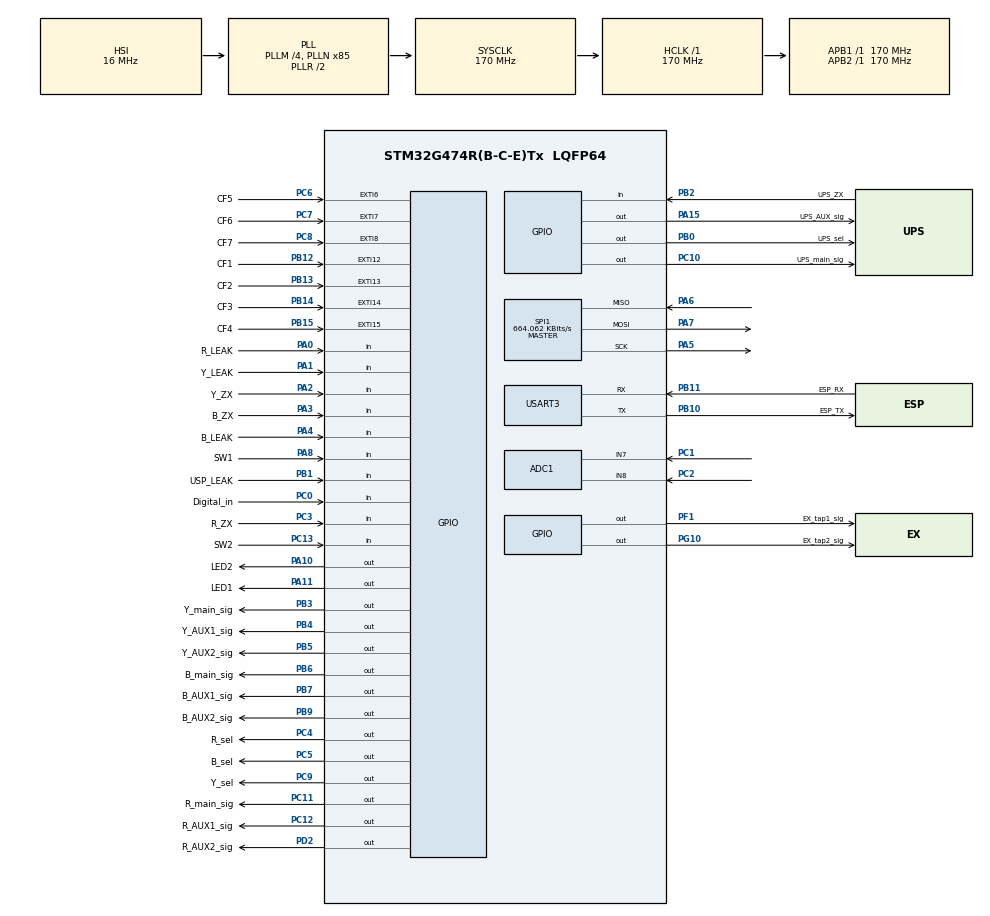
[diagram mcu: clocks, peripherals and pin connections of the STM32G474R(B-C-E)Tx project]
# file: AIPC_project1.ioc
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ADC1.Channel-0\#ChannelRegularConversion=ADC_CHANNEL_VBAT
ADC1.NbrOfConversion=1
ADC1.NbrOfConversionFlag=1
ADC1.OffsetNumber-0\#ChannelRegularConversion=ADC_OFFSET_NONE
ADC1.OversamplingMode=DISABLE
ADC1.Rank-0\#ChannelRegularConversion=1
ADC1.SamplingTime-0\#ChannelRegularConversion=ADC_SAMPLETIME_24CYCLES_5
ADC1.master=1
Dma.Request0=USART3_RX
Dma.USART3_RX.0.Direction=DMA_PERIPH_TO_MEMORY
Dma.USART3_RX.0.EventEnable=DISABLE
Dma.USART3_RX.0.Instance=DMA1_Channel1
Dma.USART3_RX.0.MemDataAlignment=DMA_MDATAALIGN_BYTE
Dma.USART3_RX.0.MemInc=DMA_MINC_ENABLE
Dma.USART3_RX.0.Mode=DMA_NORMAL
Dma.USART3_RX.0.PeriphDataAlignment=DMA_PDATAALIGN_BYTE
Dma.USART3_RX.0.PeriphInc=DMA_PINC_DISABLE
Dma.USART3_RX.0.Polarity=HAL_DMAMUX_REQ_GEN_RISING
Dma.USART3_RX.0.Priority=DMA_PRIORITY_MEDIUM
Dma.USART3_RX.0.RequestNumber=1
Dma.USART3_RX.0.SignalID=NONE
Dma.USART3_RX.0.SyncEnable=DISABLE
Dma.USART3_RX.0.SyncPolarity=HAL_DMAMUX_SYNC_NO_EVENT
Dma.USART3_RX.0.SyncRequestNumber=1
Dma.USART3_RX.0.SyncSignalID=NONE
Mcu.Family=STM32G4
Mcu.Name=STM32G474R(B-C-E)Tx
Mcu.Package=LQFP64
NVIC.DMA1_Channel1_IRQn=true\:0\:0\:false\:false\:true\:false\:true\:true
NVIC.EXTI15_10_IRQn=true\:0\:0\:false\:false\:true\:true\:true\:true
NVIC.EXTI9_5_IRQn=true\:0\:0\:false\:false\:true\:true\:true\:true
NVIC.PriorityGroup=NVIC_PRIORITYGROUP_4
NVIC.USART3_IRQn=true\:0\:0\:false\:false\:true\:true\:true\:true
PA0.GPIO_Label=R_LEAK
PA0.GPIO_PuPd=GPIO_PULLUP
PA0.Signal=GPIO_Input
PA1.GPIO_Label=Y_LEAK
PA1.GPIO_PuPd=GPIO_PULLUP
PA1.Signal=GPIO_Input
PA10.GPIO_Label=LED2
PA10.GPIO_Speed=GPIO_SPEED_FREQ_VERY_HIGH
PA10.Signal=GPIO_Output
PA11.GPIO_Label=LED1
PA11.GPIO_Speed=GPIO_SPEED_FREQ_VERY_HIGH
PA11.Signal=GPIO_Output
PA15.GPIO_Label=UPS_AUX_sig
PA15.Signal=GPIO_Output
PA2.GPIO_Label=Y_ZX
PA2.Signal=GPIO_Input
PA3.GPIO_Label=B_ZX
PA3.Signal=GPIO_Input
PA4.GPIO_Label=B_LEAK
PA4.GPIO_PuPd=GPIO_PULLUP
PA4.Signal=GPIO_Input
PA5.Mode=Full_Duplex_Master
PA5.Signal=SPI1_SCK
PA6.Mode=Full_Duplex_Master
PA6.Signal=SPI1_MISO
PA7.Mode=Full_Duplex_Master
PA7.Signal=SPI1_MOSI
PA8.GPIO_Label=SW1
PA8.GPIO_PuPd=GPIO_PULLDOWN
PA8.Signal=GPIO_Input
PB0.GPIO_Label=UPS_sel
PB0.Signal=GPIO_Output
PB1.GPIO_Label=USP_LEAK
PB1.GPIO_PuPd=GPIO_PULLUP
PB1.Signal=GPIO_Input
PB10.GPIO_Label=ESP_TX
PB10.Mode=Asynchronous
PB10.Signal=USART3_TX
PB11.GPIO_Label=ESP_RX
PB11.Mode=Asynchronous
PB11.Signal=USART3_RX
PB12.GPIO_Label=CF1
PB12.GPIO_ModeDefaultEXTI=GPIO_MODE_IT_RISING_FALLING
PB12.GPIO_PuPd=GPIO_PULLUP
PB12.Signal=GPXTI12
PB13.GPIO_Label=CF2
PB13.GPIO_ModeDefaultEXTI=GPIO_MODE_IT_RISING_FALLING
PB13.GPIO_PuPd=GPIO_PULLUP
PB13.Signal=GPXTI13
PB14.GPIO_Label=CF3
PB14.GPIO_ModeDefaultEXTI=GPIO_MODE_IT_RISING_FALLING
PB14.GPIO_PuPd=GPIO_PULLUP
PB14.Signal=GPXTI14
PB15.GPIO_Label=CF4
PB15.GPIO_ModeDefaultEXTI=GPIO_MODE_IT_RISING_FALLING
PB15.GPIO_PuPd=GPIO_PULLUP
PB15.Signal=GPXTI15
PB2.GPIO_Label=UPS_ZX
PB2.GPIO_PuPd=GPIO_PULLUP
PB2.Signal=GPIO_Input
PB3.GPIO_Label=Y_main_sig
PB3.Signal=GPIO_Output
PB4.GPIO_Label=Y_AUX1_sig
PB4.Signal=GPIO_Output
PB5.GPIO_Label=Y_AUX2_sig
PB5.Signal=GPIO_Output
PB6.GPIO_Label=B_main_sig
PB6.Signal=GPIO_Output
PB7.GPIO_Label=B_AUX1_sig
PB7.Signal=GPIO_Output
PB9.GPIO_Label=B_AUX2_sig
PB9.Signal=GPIO_Output
PC0.GPIO_Label=Digital_in
PC0.GPIO_PuPd=GPIO_PULLUP
PC0.Signal=GPIO_Input
PC1.Mode=IN7-Differential
PC1.Signal=ADC1_IN7
PC10.GPIO_Label=UPS_main_sig
PC10.Signal=GPIO_Output
PC11.GPIO_Label=R_main_sig
PC11.Signal=GPIO_Output
PC12.GPIO_Label=R_AUX1_sig
PC12.Signal=GPIO_Output
PC13.GPIO_Label=SW2
PC13.GPIO_PuPd=GPIO_PULLDOWN
PC13.Signal=GPIO_Input
PC14-OSC32_IN.Mode=LSE-External-Oscillator
PC14-OSC32_IN.Signal=RCC_OSC32_IN
PC15-OSC32_OUT.Mode=LSE-External-Oscillator
PC15-OSC32_OUT.Signal=RCC_OSC32_OUT
PC2.Mode=IN7-Differential
PC2.Signal=ADC1_IN8
PC3.GPIO_Label=R_ZX
PC3.GPIO_PuPd=GPIO_PULLUP
PC3.Signal=GPIO_Input
PC4.GPIO_Label=R_sel
PC4.Signal=GPIO_Output
PC5.GPIO_Label=B_sel
PC5.Signal=GPIO_Output
PC6.GPIO_Label=CF5
PC6.GPIO_ModeDefaultEXTI=GPIO_MODE_IT_RISING_FALLING
PC6.GPIO_PuPd=GPIO_PULLUP
PC6.Signal=GPXTI6
PC7.GPIO_Label=CF6
PC7.GPIO_ModeDefaultEXTI=GPIO_MODE_IT_RISING_FALLING
PC7.GPIO_PuPd=GPIO_PULLUP
PC7.Signal=GPXTI7
PC8.GPIO_Label=CF7
PC8.GPIO_ModeDefaultEXTI=GPIO_MODE_IT_RISING_FALLING
PC8.GPIO_PuPd=GPIO_PULLUP
PC8.Signal=GPXTI8
PC9.GPIO_Label=Y_sel
PC9.Signal=GPIO_Output
PD2.GPIO_Label=R_AUX2_sig
PD2.Signal=GPIO_Output
PF1-OSC_OUT.GPIO_Label=EX_tap1_sig
PF1-OSC_OUT.Signal=GPIO_Output
PG10-NRST.GPIO_Label=EX_tap2_sig
PG10-NRST.Signal=GPIO_Output
ProjectManager.HeapSize=0x200
ProjectManager.StackSize=0x400
ProjectManager.TargetToolchain=STM32CubeIDE
RCC.ADC12Freq_Value=170000000
RCC.ADC345Freq_Value=170000000
RCC.AHBFreq_Value=170000000
RCC.APB1Freq_Value=170000000
RCC.APB1TimFreq_Value=170000000
RCC.APB2Freq_Value=170000000
RCC.APB2TimFreq_Value=170000000
RCC.CortexFreq_Value=170000000
RCC.EXTERNAL_CLOCK_VALUE=12288000
RCC.HCLKFreq_Value=170000000
RCC.HSE_VALUE=8000000
RCC.HSI48_VALUE=48000000
RCC.HSI_VALUE=16000000
RCC.PLLM=RCC_PLLM_DIV4
RCC.PLLN=85
RCC.RTCClockSelection=RCC_RTCCLKSOURCE_LSE
RCC.SYSCLKFreq_VALUE=170000000
RCC.SYSCLKSource=RCC_SYSCLKSOURCE_PLLCLK
RCC.USBFreq_Value=170000000
RCC.VCOOutputFreq_Value=340000000
SPI1.BaudRatePrescaler=SPI_BAUDRATEPRESCALER_256
SPI1.CLKPhase=SPI_PHASE_2EDGE
SPI1.CalculateBaudRate=664.062 KBits/s
SPI1.DataSize=SPI_DATASIZE_8BIT
SPI1.Direction=SPI_DIRECTION_2LINES
SPI1.Mode=SPI_MODE_MASTER
SPI1.VirtualType=VM_MASTER
USART3.VirtualMode-Asynchronous=VM_ASYNC
VP_ADC1_Vbat_Input.Mode=IN-Vbat
VP_RTC_VS_RTC_Activate.Mode=RTC_Enabled
VP_RTC_VS_RTC_Calendar.Mode=RTC_Calendar
VP_SYS_VS_DBSignals.Mode=DisableDeadBatterySignals
board=custom

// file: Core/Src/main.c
/* USER CODE BEGIN Header */
/**
  ******************************************************************************
  * @file           : main.c
  * @brief          : Main program body
  ******************************************************************************
  * @attention
  *
  * Copyright (c) 2026 STMicroelectronics.
  * All rights reserved.
  *
  * This software is licensed under terms that can be found in the LICENSE file
  * in the root directory of this software component.
  * If no LICENSE file comes with this software, it is provided AS-IS.
  *
  ******************************************************************************
  */
/* USER CODE END Header */
#include "main.h"

/* USER CODE BEGIN Includes */

#include "OTAupdate.h"
#include "Relay_controlling.h"

#include<stdio.h>
#include <string.h>
#include <time.h>

/* USER CODE END Includes */

/* USER CODE BEGIN PD */

#define RELAYCHECK 0
#define CALIB_VOL1 17338.36190
#define CALIB_CUR1 301062.271062
#define CALIB_POW1 648.885586
#define CALIB_ENE1 4667.50266786

#define CALIB_VOL2 17324.5952
#define CALIB_CUR2 304157.509157
#define CALIB_POW2 739.078751
#define CALIB_ENE2 5667.50266786

#define CALIB_VOL3 17319.6761
#define CALIB_CUR3 304084.249084
#define CALIB_POW3 656.745913
#define CALIB_ENE3 5000.96266786

//#define CALIB_VOL 1
//#define CALIB_CUR 1
//#define CALIB_POW 1
//#define CALIB_ENE 1

/*RX buffer size deceleration*/
#define BUF_SIZE 256

#define OVERLOAD_DELAY 7000

#define RTC_BAT_CONNECTED 1

/* USER CODE END PD */

ADC_HandleTypeDef hadc1;

RTC_HandleTypeDef hrtc;

SPI_HandleTypeDef hspi1;

UART_HandleTypeDef huart3;
DMA_HandleTypeDef hdma_usart3_rx;

/* USER CODE BEGIN PV */
uint8_t setupBL[6];
uint8_t rxDummy[4],rxDataV1[4], rxDataV2[4], rxDataV3[4], rxDataV4[4];
uint8_t rxDataC1[4], rxDataC2[4], rxDataC3[4], rxDataC4[4];
uint8_t rxDataP1[4], rxDataP2[4], rxDataP3[4], rxDataP4[4];
uint8_t rxDataE1[4], rxDataE2[4], rxDataE3[4], rxDataE4[4];
volatile float  voltL1, voltL2, voltL3,voltL4;
volatile float  curL1, curL2, curL3, curL4;
volatile float  powL1, powL2, powL3, powL4;
volatile float  eneL1, eneL2, eneL3, eneL4;

unsigned short uartGoFlag;			//0b->v1, 1b->c1, 2b->p1, 3b->e1, 4b->v2, 5b->c2, 6b->p2, 7b->e2, 8b->v3, 9b->c3, 10b->p3, 11b->e3, 12b->v4, 13b->c4, 14b->p4, 15b->e4.
unsigned short relayStatus;
unsigned short contactorStatus;

volatile bool healthyRphase,healthyYphase,healthyBphase,healthyUPS;
volatile bool RmainRelayState, YmainRelayState, BmainRelayState, RYauxRelayState, YRauxRelayState, YBauxRelayState, BYauxRelayState, RBauxRelayState, BRauxRelayState, UPSmainRelayState, UPSauxRelayState;

uint8_t Uart3RXbuffer[BUF_SIZE];
typedef struct PhaseProtection {
    bool enabled;
    float highV;   // Volts
    float lowV;    // Volts
    float highI;   // Amps (overload)
}PhaseProtection;

PhaseProtection prot[3];
uint8_t headerProtection = 0XCC, checkSum;
bool protCheckSumMismatch;

float voltLow[4],voltHigh[4],overload[4];
uint32_t overloadAlertL1StartTime,  overloadAlertL2StartTime, overloadAlertL3StartTime, overloadAlertL4StartTime;
bool overloadAlertL1,overloadAlertL2,overloadAlertL3, overloadAlertL4;
uint32_t resetButtonCombTScap;
bool resumel1,resumel2,resumel3,resumel4; //not used until overload reset is activated

uint64_t receivedUnixTime;
volatile static bool timeSynced = false;
float bateryVoltage;

volatile uint32_t  eventFlag, previousEventFlag;
volatile bool eventPassed;
typedef struct event{
	time_t carryEventTime;
	uint32_t carryEventFlag;
}event;

event arrEvent[20];
uint8_t headerEventSend = 0XEE;
uint8_t structTemp[sizeof(arrEvent[0])+2];

int8_t eventWriteIndex = -1;
uint32_t preSentTime;
time_t  curTime;

RTC_TimeTypeDef rtcTime;
RTC_DateTypeDef rtcDate;

/* USER CODE END PV */

void SystemClock_Config(void);
static void MX_GPIO_Init(void);
static void MX_DMA_Init(void);
static void MX_USART3_UART_Init(void);
static void MX_ADC1_Init(void);
static void MX_RTC_Init(void);
static void MX_SPI1_Init(void);

/* USER CODE BEGIN 0 */

//int __io_putchar(int ch)
//{
//    HAL_UART_Transmit(&huart2, (uint8_t *)&ch, 1, HAL_MAX_DELAY);
//    return ch;
//}

/* No debug UART on the controller board (PA2/PA3 are Y_ZX/B_ZX): printf is discarded.
   Must stay defined - syscalls.c calls this weak symbol and jumps to 0 if it is missing */

void UARTcollection(uint16_t Size) {
	bool transfer = false;

	for (uint16_t i = 0; i < Size; i++) {
		if (Uart3RXbuffer[i] == headerProtection && (Size - i) >= 41) {
			transfer = true;
		}
	}
	checkSum = 0;
	for (int i = 1; i < 40; i++) {
		checkSum += Uart3RXbuffer[i];
	}
	checkSum = (~(checkSum & 0XFF));

	if (transfer && (checkSum == Uart3RXbuffer[40])) {
		prot[0].enabled = Uart3RXbuffer[1];
		memcpy((&prot[0].lowV), &Uart3RXbuffer[2], 4);
		memcpy((&prot[0].highV), &Uart3RXbuffer[6], 4);
		memcpy((&prot[0].highI), &Uart3RXbuffer[10], 4);
		prot[1].enabled = Uart3RXbuffer[14];
		memcpy((&prot[1].lowV), &Uart3RXbuffer[15], 4);
		memcpy((&prot[1].highV), &Uart3RXbuffer[19], 4);
		memcpy((&prot[1].highI), &Uart3RXbuffer[23], 4);
		prot[2].enabled = Uart3RXbuffer[27];
		memcpy((&prot[2].lowV), &Uart3RXbuffer[28], 4);
		memcpy((&prot[2].highV), &Uart3RXbuffer[32], 4);
		memcpy((&prot[2].highI), &Uart3RXbuffer[36], 4);
	}else{
		protCheckSumMismatch=true;
	}
}

void NTPsyncTimeToRTC(uint16_t Size){
//	printf("Time Synced process is in testing mode\r\n");
//	for (int i = 0; i < 10; i++) {
//		printf("%d ---->%X\r\n", i, Uart3RXbuffer[i]);
//	}
//	printf("\r\n");

	uint16_t i;
	for (i = 0; i < Size/*-i>=10*/; i++) {
		if (Uart3RXbuffer[i] == 0XDD && (Size - i) >= 10) {
				receivedUnixTime =
			    ((uint64_t)Uart3RXbuffer[i+1] << 0)  |
			    ((uint64_t)Uart3RXbuffer[i+2] << 8)  |
			    ((uint64_t)Uart3RXbuffer[i+3] << 16) |
			    ((uint64_t)Uart3RXbuffer[i+4] << 24) |
			    ((uint64_t)Uart3RXbuffer[i+5] << 32) |
			    ((uint64_t)Uart3RXbuffer[i+6] << 40) |
			    ((uint64_t)Uart3RXbuffer[i+7] << 48) |
			    ((uint64_t)Uart3RXbuffer[i+8] << 56);
			timeSynced =true;
//			printf("%lu\r\n",(unsigned long)receivedUnixTime);
			return;
		}
	}
	return;

//	time_t epoch = receivedUinxTime;
//	struct tm* time = gmtime(&epoch);

}

void HAL_UARTEx_RxEventCallback(UART_HandleTypeDef *huart, uint16_t Size) {
	if (huart->Instance == USART3) {
			suOnRxBurst(Uart3RXbuffer, Size); // <-- add: catch AA55A55A / BB44B44B
			NTPsyncTimeToRTC(Size);
			UARTcollection(Size);
			HAL_UARTEx_ReceiveToIdle_DMA(&huart3, Uart3RXbuffer, BUF_SIZE);
			__HAL_DMA_DISABLE_IT(huart3.hdmarx, DMA_IT_HT);

	}

}

void HAL_UART_ErrorCallback(UART_HandleTypeDef *huart) {
	if (huart->Instance == USART3) {
		/* ESP reset/boot noise causes FE/NE/ORE, which aborts DMA reception - restart it */
		__HAL_UART_CLEAR_FLAG(huart, UART_CLEAR_OREF | UART_CLEAR_FEF | UART_CLEAR_NEF | UART_CLEAR_PEF);
		HAL_UARTEx_ReceiveToIdle_DMA(&huart3, Uart3RXbuffer, BUF_SIZE);
		__HAL_DMA_DISABLE_IT(huart3.hdmarx, DMA_IT_HT);
	}
}

uint8_t validateChecksum(uint8_t addr, uint8_t high, uint8_t mid, uint8_t low, uint8_t checksum){
	return checksum == (uint8_t) ~((0x55+addr+high+mid+low)&0XFF);

}

/* BL0939 has no chip select: 6 bytes of 0xFF re-aligns its SPI frame counter */
void blResetSPI(void){
	uint8_t resetBytes[6] = {0xFF, 0xFF, 0xFF, 0xFF, 0xFF, 0xFF};
	HAL_SPI_Transmit(&hspi1, resetBytes, 6, HAL_MAX_DELAY);
}

/* Reads one BL0939 register as a single 6-byte frame, retrying on checksum failure.
   data[] receives {H, M, L, checksum}; returns 1 when the checksum matched */
uint8_t blReadReg(uint8_t addr, uint8_t *data){
	uint8_t tx[2] = {0x55, addr };
	uint8_t rx[6];

	for (uint8_t attempt = 0; attempt < 3; attempt++) {
		if (HAL_SPI_TransmitReceive(&hspi1, tx, rx, 6, HAL_MAX_DELAY) == HAL_OK
				&& validateChecksum(addr, rx[2], rx[3], rx[4], rx[5])) {
			for (uint8_t i = 0; i < 4; i++)
				data[i] = rx[i + 2];
			return 1;
		}
//		printf("BL %02X bad: %02X %02X %02X %02X %02X %02X\r\n",
//				addr, rx[0], rx[1], rx[2], rx[3], rx[4], rx[5]);
		blResetSPI();
	}
	return 0;
}

void batteryCalculation(void) {
	/*Process of monitoring the battery percentage with the help of inbuilt ADC channel connection */
	HAL_ADC_Start(&hadc1);

	if (HAL_ADC_PollForConversion(&hadc1, 10) == HAL_OK) {
		uint16_t bateryADCvalue = HAL_ADC_GetValue(&hadc1);
		bateryVoltage = ((float) ((bateryADCvalue * 3) * 3.6) / 4095);
	}

	HAL_ADC_Stop(&hadc1);
	/*End of this individual function*/

}

void overloadResetHandler(void) {
	/*Reset overload combination*/

	if (HAL_GPIO_ReadPin(SW1_GPIO_Port, SW1_Pin)
			&& HAL_GPIO_ReadPin(SW2_GPIO_Port, SW2_Pin)) {
		if (!resetButtonCombTScap) {
			resetButtonCombTScap = HAL_GetTick();
		}
	} else {
		resetButtonCombTScap = 0;
	}

	if (resetButtonCombTScap && (HAL_GetTick() - resetButtonCombTScap > 3000)) {

		if (overloadAlertL1) {
			resumel1 = true;
		}
		if (overloadAlertL2) {
			resumel2 = true;
		}
		if (overloadAlertL3) {
			resumel3 = true;
		}
		if (overloadAlertL4) {
			resumel4 = true;
		}
	}

	/*End of this individual function*/

}

void SyncTimeToSTMrtc(void){
 	 /* Process of Time sync when the ESP time get synced or at login. Then continiously running the RTC in the background with the help of the Vbat support */

	if (timeSynced == 1) {
		time_t setUnixTime = (time_t) (receivedUnixTime + 19800);
		struct tm time;
		gmtime_r(&setUnixTime, &time);
		rtcTime.Hours = time.tm_hour;
		rtcTime.Minutes = time.tm_min;
		rtcTime.Seconds = time.tm_sec;
		rtcTime.SubSeconds = 0x0;
		rtcTime.TimeFormat = RTC_HOURFORMAT12_AM;
		rtcTime.DayLightSaving = RTC_DAYLIGHTSAVING_NONE;
		rtcTime.StoreOperation = RTC_STOREOPERATION_RESET;

		rtcDate.WeekDay = time.tm_wday;
		rtcDate.Month = time.tm_mon + 1;
		rtcDate.Date = time.tm_mday;
		rtcDate.Year = ((time.tm_year) - 100);  // (126 - 100) -> 26  ->2026

		HAL_RTC_SetTime(&hrtc, &rtcTime, RTC_FORMAT_BIN);
		HAL_RTC_SetDate(&hrtc, &rtcDate, RTC_FORMAT_BIN);
		timeSynced = false;

	}

	/*End of this individual function*/
}

void convRTCtimeToUNIXtime(void){
	/*This portion will help to take the time from internal RTC and shows in the terminal and convert to unix time for passing that to ESP*/
		struct tm time;
			HAL_RTC_GetTime(&hrtc, &rtcTime, RTC_FORMAT_BIN);
			HAL_RTC_GetDate(&hrtc, &rtcDate, RTC_FORMAT_BIN);
	//		printf("Time: %02d:%02d:%02d\r\n", rtcTime.Hours, rtcTime.Minutes,rtcTime.Seconds);
	//		printf("Date: %02d/%02d/20%02d\r\n", rtcDate.Date, rtcDate.Month,rtcDate.Year);

			time.tm_hour = rtcTime.Hours;
			time.tm_min = rtcTime.Minutes;
			time.tm_sec = rtcTime.Seconds;
			time.tm_wday = rtcDate.WeekDay;
			time.tm_mon = rtcDate.Month - 1;
			time.tm_mday = rtcDate.Date;
			time.tm_year = rtcDate.Year + 100;

			time.tm_isdst = 0;

			curTime = mktime(&time);

	/*End of this individual function*/

}

void BLdataCollectionL1(void) {
	/*----------------------------------------L1------------------------------------------------------*/

	HAL_GPIO_WritePin(R_sel_GPIO_Port, R_sel_Pin, SET);
//    			HAL_Delay(2);
	blResetSPI();

//	  			printf("L1 -Dum\r\n");
//	  			blReadReg(0x03,rxDummy);
//	  			printf("L1 -v\r\n");
	uint8_t okV1 = blReadReg(0x06, rxDataV1);
//	  			printf("L1 -c\r\n");
	uint8_t okC1 = blReadReg(0x04, rxDataC1);
//	  			printf("L1 -p\r\n");
	uint8_t okP1 = blReadReg(0x08, rxDataP1);
//	  			printf("L1 -e\r\n");
	uint8_t okE1 = blReadReg(0x0A, rxDataE1);

	//HAL_Delay(1000);
	HAL_GPIO_WritePin(R_sel_GPIO_Port, R_sel_Pin, RESET);

//	  			printf("data1-> %X, %X, %X, %X\r\n", rxDataV1[0], rxDataV1[1], rxDataV1[2],rxDataV1[3]);

	if (okV1) {
		voltL1 = ((rxDataV1[0] << 16 | rxDataV1[1] << 8 | rxDataV1[2])
				/ CALIB_VOL1);
		uartGoFlag = uartGoFlag | 0X0001;
//	  				printf("Vol1 = %.2f\r\n", voltL1);

	}
	if (okC1) {
		curL1 = ((rxDataC1[0] << 16 | rxDataC1[1] << 8 | rxDataC1[2])
				/ CALIB_CUR1);
		uartGoFlag = uartGoFlag | 0X0002;
//	  				printf("curL1 = %.3f \r\n", curL1);

	}
	if (okP1) {
		powL1 = ((rxDataP1[0] << 16 | rxDataP1[1] << 8 | rxDataP1[2])
				/ CALIB_POW1);
		uartGoFlag = uartGoFlag | 0X0004;
//	  				printf("powL1 = %.2f \r\n", powL1);

	}
	if (okE1) {
		eneL1 = ((rxDataE1[0] << 16 | rxDataE1[1] << 8 | rxDataE1[2])
				/ CALIB_ENE1);
		uartGoFlag = uartGoFlag | 0X0008;
//	  				printf("eneL1 = %.3f \r\n", eneL1);

	}

//	  			printf("\r\n");

}

void BLdataCollectionL2(void) {
	/*----------------------------------------L2------------------------------------------------------*/

	HAL_GPIO_WritePin(Y_sel_GPIO_Port, Y_sel_Pin, SET);
	//	  			HAL_Delay(2);
	blResetSPI();
	//	  			HAL_Delay(20);

	//	  			printf("L2 -Dum\r\n");
	//	  			blReadReg(0x03,rxDummy);
	//	  			printf("L2 -v\r\n");
	uint8_t okV2 = blReadReg(0x06, rxDataV2);
	//	  			printf("L2 -c\r\n");
	uint8_t okC2 = blReadReg(0x04, rxDataC2);
	//	  			printf("L2 -p\r\n");
	uint8_t okP2 = blReadReg(0x08, rxDataP2);
	//	  			printf("L2 -E\r\n");
	uint8_t okE2 = blReadReg(0x0A, rxDataE2);

	HAL_GPIO_WritePin(Y_sel_GPIO_Port, Y_sel_Pin, RESET);
	//	  			HAL_Delay(100);
	//	  			printf("data2-> %X, %X, %X, %X\r\n", rxDataV2[0], rxDataV2[1], rxDataV2[2],rxDataV2[3]);

	if (okV2) {
		voltL2 = ((rxDataV2[0] << 16 | rxDataV2[1] << 8 | rxDataV2[2])
				/ CALIB_VOL2);
		uartGoFlag = uartGoFlag | 0X0010;
		//	  				printf("Vol2 = %.2f\r\n", voltL2);
	}
	if (okC2) {
		curL2 = ((rxDataC2[0] << 16 | rxDataC2[1] << 8 | rxDataC2[2])
				/ CALIB_CUR2);
		uartGoFlag = uartGoFlag | 0X0020;
		//	  				printf("curL2 = %.3f \r\n", curL2);

	}
	if (okP2) {
		powL2 = ((rxDataP2[0] << 16 | rxDataP2[1] << 8 | rxDataP2[2])
				/ CALIB_POW2);
		uartGoFlag = uartGoFlag | 0X0040;
		//	  				printf("powL2 = %.2f \r\n", powL2);
	}
	if (okE2) {
		eneL2 = ((rxDataE2[0] << 16 | rxDataE2[1] << 8 | rxDataE2[2])
				/ CALIB_ENE2);
		uartGoFlag = uartGoFlag | 0X0080;
		//	  				printf("eneL2 = %.3f \r\n", eneL2);

	}

	//	  			printf("\r\n");

}

void BLdataCollectionL3(void) {
	/*----------------------------------------L3------------------------------------------------------*/

	HAL_GPIO_WritePin(B_sel_GPIO_Port, B_sel_Pin, SET);
	HAL_Delay(2);
	blResetSPI();

//	  			printf("L3 -Dum\r\n");
//	  			blReadReg(0x03,rxDummy);
//	  			printf("L3 -v\r\n");
	uint8_t okV3 = blReadReg(0x06, rxDataV3);
//	  			printf("L3 -c\r\n");
	uint8_t okC3 = blReadReg(0x04, rxDataC3);
//	  			printf("L3 -p\r\n");
	uint8_t okP3 = blReadReg(0x08, rxDataP3);
//	  			printf("L3 -e\r\n");
	uint8_t okE3 = blReadReg(0x0A, rxDataE3);

	HAL_GPIO_WritePin(B_sel_GPIO_Port, B_sel_Pin, RESET);
//	  			printf("data3-> %X, %X, %X, %X\r\n", rxDataV3[0], rxDataV3[1], rxDataV3[2], rxDataV3[3]);

	if (okV3) {
		voltL3 = ((rxDataV3[0] << 16 | rxDataV3[1] << 8 | rxDataV3[2])
				/ CALIB_VOL3);
		uartGoFlag = uartGoFlag | 0X0100;
//	  				printf("Vol3 = %.2f\r\n", voltL3);
	}
	if (okC3) {
		curL3 = ((rxDataC3[0] << 16 | rxDataC3[1] << 8 | rxDataC3[2])
				/ CALIB_CUR3);
		uartGoFlag = uartGoFlag | 0X0200;
//	  			printf("curL3 = %.3f \r\n", curL3);
	}
	if (okP3) {
		powL3 = ((rxDataP3[0] << 16 | rxDataP3[1] << 8 | rxDataP3[2])
				/ CALIB_POW3);
		uartGoFlag = uartGoFlag | 0X0400;
//	  			printf("powL3 = %.2f \r\n", powL3);
	}
	if (okE3) {
		eneL3 = ((rxDataE3[0] << 16 | rxDataE3[1] << 8 | rxDataE3[2])
				/ CALIB_ENE3);
		uartGoFlag = uartGoFlag | 0X0800;
//	  			printf("eneL3 = %.3f \r\n", eneL3);
	}
//	  			printf("\r\n");

}

void BLdataCollectionL4(void) {

	/*----------------------------------------L4------------------------------------------------------*/
	HAL_GPIO_WritePin(UPS_sel_GPIO_Port, UPS_sel_Pin, SET);
//	  			HAL_Delay(2);
	blResetSPI();

//	  			printf("L4 -Dum\r\n");
//	  			blReadReg(0x03,rxDummy);
//	  			printf("L4 -v\r\n");
	uint8_t okV4 = blReadReg(0x06, rxDataV4);
//	  			printf("L4 -c\r\n");
	uint8_t okC4 = blReadReg(0x04, rxDataC4);
//	  			printf("L4 -p\r\n");
	uint8_t okP4 = blReadReg(0x08, rxDataP4);
//	  			printf("L4 -e\r\n");
	uint8_t okE4 = blReadReg(0x0A, rxDataE4);

	HAL_GPIO_WritePin(UPS_sel_GPIO_Port, UPS_sel_Pin, RESET);
//	  			printf("data3-> %X, %X, %X, %X\r\n", rxDataV3[0], rxDataV3[1], rxDataV3[2], rxDataV3[3]);

	if (okV4) {
		voltL4 = ((rxDataV4[0] << 16 | rxDataV4[1] << 8 | rxDataV4[2])
				/ CALIB_VOL3);
		uartGoFlag = uartGoFlag | 0X1000;
//	  				printf("Vol4 = %.2f\r\n", voltL4);
	}
	if (okC4) {
		curL4 = ((rxDataC4[0] << 16 | rxDataC4[1] << 8 | rxDataC4[2])
				/ CALIB_CUR3);
		uartGoFlag = uartGoFlag | 0X2000;
//	  			printf("curL4 = %.3f \r\n", curL4);
	}
	if (okP4) {
		powL4 = ((rxDataP4[0] << 16 | rxDataP4[1] << 8 | rxDataP4[2])
				/ CALIB_POW3);
		uartGoFlag = uartGoFlag | 0X4000;
//	  			printf("powL4 = %.2f \r\n", powL4);
	}
	if (okE4) {
		eneL4 = ((rxDataE4[0] << 16 | rxDataE4[1] << 8 | rxDataE4[2])
				/ CALIB_ENE3);
		uartGoFlag = uartGoFlag | 0X8000;
//	  			printf("eneL4 = %.3f \r\n", eneL4);
	}
//	  			printf("\r\n");

}

/* USER CODE END 0 */

int main(void)
{

  /* MCU Configuration--------------------------------------------------------*/

  /* Reset of all peripherals, Initializes the Flash interface and the Systick. */
  HAL_Init();

  /* Configure the system clock */
  SystemClock_Config();

  /* Initialize all configured peripherals */
  MX_GPIO_Init();
  MX_DMA_Init();
  MX_USART3_UART_Init();
  MX_ADC1_Init();
  MX_RTC_Init();
  MX_SPI1_Init();
  /* USER CODE BEGIN 2 */

  HAL_UARTEx_ReceiveToIdle_DMA(&huart3, Uart3RXbuffer, BUF_SIZE);
  __HAL_DMA_DISABLE_IT(huart3.hdmarx,DMA_IT_HT);

  HAL_PWR_EnableBkUpAccess();

  HAL_ADC_Start(&hadc1);
//  HAL_Delay(5000);
//  HAL_GPIO_WritePin(R_sel_GPIO_Port, R_sel_Pin, RESET);
//  HAL_GPIO_WritePin(Y_sel_GPIO_Port, Y_sel_Pin, RESET);
//  HAL_GPIO_WritePin(B_sel_GPIO_Port, B_sel_Pin, RESET);

//  This is event noting to manage the logs for restart
  eventFlag = (eventFlag | (1<<12));

  /* USER CODE END 2 */

  /* Infinite loop */
  /* USER CODE BEGIN WHILE */
  while (1)
  {
//	  /*Flash process with custom boot loader*/
	  		suService();       // <-- runs the (blocking) receive/apply when flagged(continuously monitor whether the ESP is sending the firmware for update or not! )
	  		if (suBusy())
	  			continue;      // <-- not obtain data from BL0939 and won't transmit metering  while updating the firmware

	  		/*End of this individual function*/

	  	batteryCalculation();
	  	overloadResetHandler();

	  	/*These two must be in order sync then convert*/
	  	SyncTimeToSTMrtc();
	  	convRTCtimeToUNIXtime();
	  	/*These two must be in order sync then convert*/

	  	BLdataCollectionL1();
	  	BLdataCollectionL2();
	  	BLdataCollectionL3();
	  	BLdataCollectionL4();

	  	  /*Data collecting from the BL0939 IC via SPI protocol communication for the L1 L2 L3*/

	  /*End of this individual function*/

//		if ((HAL_GetTick() % 2000) <= 1000) {
//			if (!HAL_GPIO_ReadPin(LED1_GPIO_Port, LED1_Pin)) {
//				HAL_GPIO_WritePin(LED1_GPIO_Port, LED1_Pin, 1);
//			}
//			if (HAL_GPIO_ReadPin(LED2_GPIO_Port, LED2_Pin)) {
//				HAL_GPIO_WritePin(LED2_GPIO_Port, LED2_Pin, 0);
//			}
//		} else {
//
//			if (HAL_GPIO_ReadPin(LED1_GPIO_Port, LED1_Pin)) {
//				HAL_GPIO_WritePin(LED1_GPIO_Port, LED1_Pin, 0);
//			}
//			if (!HAL_GPIO_ReadPin(LED2_GPIO_Port, LED2_Pin)) {
//				HAL_GPIO_WritePin(LED2_GPIO_Port, LED2_Pin, 1);
//			}
//		}

	/*Protection Settings assigning condition with hiding noise of volt and current*/

        if (voltL1 <= 1) {
			voltL1 = 0;
		}

		if (voltL2 <= 2) {
			voltL2 = 0;
		}

		if (voltL3 <= 3) {
			voltL3 = 0;
		}

		if (voltL4 <= 4) {
			voltL4 = 0;
		}

		if (curL1 < 0.03) {
			curL1 = 0;
			powL1 = 0;
		}
		if (curL2 < 0.03) {
			curL2 = 0;
			powL2 = 0;
		}
		if (curL3 < 0.03) {
			curL3 = 0;
			powL3 = 0;
		}
		if (curL4 < 0.03) {
			curL4 = 0;
			powL4 = 0;
		}

		if (prot[0].enabled) {
			voltLow[0] = prot[0].lowV;
			voltHigh[0] = prot[0].highV;
			overload[0] = prot[0].highI;
		} else {
			voltLow[0] = 170;
			voltHigh[0] = 270;
			overload[0] = 20;
		}
		if (prot[1].enabled) {
			voltLow[1] = prot[1].lowV;
			voltHigh[1] = prot[1].highV;
			overload[1] = prot[1].highI;
		} else {
			voltLow[1] = 170;
			voltHigh[1] = 270;
			overload[1] = 20;
		}
		if (prot[2].enabled) {
			voltLow[2] = prot[2].lowV;
			voltHigh[2] = prot[2].highV;
			overload[2] = prot[2].highI;
		} else {
			voltLow[2] = 170;
			voltHigh[2] = 270;
			overload[2] = 20;
		}

		//!!!!!!!!!!!!!!!!!!!!!!!!to do in the ESP side
		voltLow[3] = 170;
		voltHigh[3] = 270;
		overload[3] = 20;

	/*End of this individual function*/

	/*Phase health check with voltage and overload*/
		healthyRphase =
				((voltL1 > voltLow[0]) && (voltL1 < voltHigh[0])) ? 1 : 0;
		healthyYphase =
				((voltL2 > voltLow[1]) && (voltL2 < voltHigh[1])) ? 1 : 0;
		healthyBphase =
				((voltL3 > voltLow[2]) && (voltL3 < voltHigh[2])) ? 1 : 0;
		healthyUPS =
				((voltL4 > voltLow[3]) && (voltL4 < voltHigh[3])) ? 1 : 0;

		if (healthyRphase && (curL1 > overload[0])) {
			if (!overloadAlertL1StartTime) {
				overloadAlertL1StartTime = HAL_GetTick();
			}
			if (overloadAlertL1StartTime && (HAL_GetTick() - overloadAlertL1StartTime >= OVERLOAD_DELAY)) {
				overloadAlertL1 = true;

				//This is event noting to manage the logs
				eventFlag = (eventFlag | (1 << 9));
			}
		} else {
			overloadAlertL1StartTime = 0;
		}

		if (healthyYphase && (curL2 > overload[1])) {
			if (!overloadAlertL2StartTime) {
				overloadAlertL2StartTime = HAL_GetTick();
			}
			if (overloadAlertL2StartTime && (HAL_GetTick() - overloadAlertL2StartTime >= OVERLOAD_DELAY)) {
				overloadAlertL2 = true;

				//This is event noting to manage the logs
				eventFlag = (eventFlag | (1 << 10));
			}
		} else {
			overloadAlertL2StartTime = 0;
		}

		if (healthyBphase && (curL3 > overload[2])) {
			if (!overloadAlertL3StartTime) {
				overloadAlertL3StartTime = HAL_GetTick();
			}

			if (overloadAlertL3StartTime && (HAL_GetTick() - overloadAlertL3StartTime >= OVERLOAD_DELAY)) {
				overloadAlertL3 = true;

				//This is event noting to manage the logs
				eventFlag = (eventFlag | (1 << 11));
			}
		} else {
			overloadAlertL3StartTime = 0;
		}

		if(healthyUPS && (curL4 > overload[3])){
			if(!overloadAlertL4StartTime){
				overloadAlertL4StartTime = HAL_GetTick();
			}

			if(overloadAlertL4StartTime && (HAL_GetTick() - overloadAlertL4StartTime >=  OVERLOAD_DELAY)) {
				overloadAlertL4 = true;

				//!!!!!!!!!!!!!!!!!! to do to manage log only for UPS This is event noting to manage the logs

			}
		}else{
			overloadAlertL4StartTime = 0;
		}

		/*Resume to recover the relay State from the overload alert*/
		//Resume for the Recovery from overload of all phases.After remove this comment once you done the recovery process
		if (overloadAlertL1 && resumel1) {
			overloadAlertL1 = false;
			resumel1 = 0;
			overloadAlertL1StartTime = 0;
			/*This is event noting to manage the logs*/
			eventFlag = (eventFlag & (~(1 << 9)));
		}

		if (overloadAlertL2 && resumel2) {
			overloadAlertL2 = false;
			resumel2 = 0;
			overloadAlertL2StartTime = 0;
			/*This is event noting to manage the logs*/
			eventFlag = (eventFlag & (~(1 << 10)));
		}

		if (overloadAlertL3 && resumel3) {
			overloadAlertL3 = false;
			resumel3 = 0;
			overloadAlertL3StartTime = 0;
			/*This is event noting to manage the logs*/
			eventFlag = (eventFlag & (~(1 << 11)));
		}
		if (overloadAlertL4 && resumel4) {
			overloadAlertL4 = false;
			resumel4 = 0;
			overloadAlertL4StartTime = 0;
			/*This is event noting to manage the logs*/
			//to do to manage log only for UPS
		}
	/*End of this individual function*/

		/*Switch-over Management*/

																													// | ! |    Overload management has been done by the R-phase only. Will test implement this to other phases if the test is succeed.

					if (!healthyRphase || overloadAlertL1) {
						if (RmainRelayState) {
							// Function to OFF the relay once, inside it should OFF the Aux of the R main relay
							RmainRelayTurnOFF();
							// give some delay if not feedback
	//						HAL_Delay(500);

						}
						if (healthyYphase && healthyBphase && !YRauxRelayState
								&& !BRauxRelayState && !overloadAlertL1) {		//prevention condition
							// choose any one of the phase with the help of the current
							// with that phase ON the the Aux to the the R phase once
							/*depends on the current Aux will switch over*/
							if (curL2 < curL3) {
								YRauxRelayTurnON();

							} else if (curL3 < curL2) {
								BRauxRelayTurnON();

							} else {
								YRauxRelayTurnON();

							}
						} else if(!overloadAlertL1) {
							if (healthyYphase && !YRauxRelayState && !BRauxRelayState) {
								// ON the Y phase Aux to the R main once
								YRauxRelayTurnON();

							} else if (healthyBphase && !YRauxRelayState
									&& !BRauxRelayState) {
								// ON the B phase Aux to the R main once
								BRauxRelayTurnON();

							} else {
								//not to changeover the relay
							}
						}

					} else if(healthyRphase && !overloadAlertL1) {
						if (!RmainRelayState) {
							if (YRauxRelayState || BRauxRelayState) {
								// function to OFF the all Aux from other phase to R phases
								RincomingAuxRelayOFF();
	//							HAL_Delay(500);
							}

							// give some delay if not feedback
							// Turn ON the R main relay
							RmainRelayTurnON();

						}

					}

					if (!healthyYphase || overloadAlertL2) {
						if (YmainRelayState) {
							// Function to OFF the relay once, inside it should OFF the Aux of the Y main relay
							YmainRelayTurnOFF();
							// give some delay if not feedback
	//						HAL_Delay(500);

						}
						if (healthyRphase && healthyBphase && !RYauxRelayState
								&& !BYauxRelayState && !overloadAlertL2) { 		//prevention condition
							// choose any one of the phase with the help of the current
							// with that phase ON the the Aux to the the R phase once
							/*depends on the current Aux will switch over*/
							if (curL1 < curL3) {
								RYauxRelayTurnON();
							} else if (curL3 < curL1) {
								BYauxRelayTurnON();
							} else {
								RYauxRelayTurnON();
							}

						} else if(!overloadAlertL2){
							if (healthyRphase && !RYauxRelayState && !BYauxRelayState) {
								// ON the Y phase Aux to the R main once
								RYauxRelayTurnON();
							} else if (healthyBphase && !RYauxRelayState
									&& !BYauxRelayState) {
								// ON the B phase Aux to the R main once
								BYauxRelayTurnON();
							} else {
								//not to change over the relay
							}

						}

					} else if(healthyYphase && !overloadAlertL2) {
						if (!YmainRelayState) {
							if (RYauxRelayState || BYauxRelayState) {
								// function to OFF the all Aux from other phase to Y phases
								YincomingAuxRelayOFF();
								// give some delay if not feedback
	//							HAL_Delay(500);
							}
							// Turn ON the Y main relay
							YmainRelayTurnON();

						}
					}

					if (!healthyBphase || overloadAlertL3) {
						if (BmainRelayState) {
							// Function to OFF the relay once, inside it should OFF the Aux of the B main relay
							BmainRelayTurnOFF();
							// give some delay if not feedback
	//						HAL_Delay(500);

						}
						if (healthyRphase && healthyYphase && !RBauxRelayState
								&& !YBauxRelayState && !overloadAlertL3) {		//prevention condition
							// choose any one of the phase with the help of the current
							// with that phase ON the the Aux to the the R phase once
							/*depends on the current Aux will switch over*/
							if (curL1 < curL2) {
								RBauxRelayTurnON();
							} else if (curL2 < curL1) {
								YBauxRelayTurnON();
							} else {
								RBauxRelayTurnON();
							}

						} else if(!overloadAlertL3) {
							if (healthyRphase && !RBauxRelayState && !YBauxRelayState) {
								// ON the Y phase Aux to the R main once
								RBauxRelayTurnON();
							} else if (healthyYphase && !RBauxRelayState
									&& !YBauxRelayState) {
								// ON the B phase Aux to the R main once
								YBauxRelayTurnON();
							} else {
								//not to change over the relay
							}

						}
					} else if(healthyBphase && !overloadAlertL3) {
						if (!BmainRelayState) {
							if (RBauxRelayState || YBauxRelayState) {
								// function to OFF the all Aux from other phase to B phases
								BincomingAuxRelayOFF();
								// give some delay if not feedback
	//							HAL_Delay(500);
							}
							// Turn ON the B main relay
							BmainRelayTurnON();

						}

					}

				if(!healthyRphase && !healthyYphase && !healthyBphase && !RmainRelayState && !YmainRelayState && !BmainRelayState/*to do: Also validate main contactor feedback*/){
//					if(healthyUPS/* to do: Also validate UPS contactor feedback*/){
						HAL_GPIO_WritePin(LED1_GPIO_Port, LED1_Pin, 1);
						UPSauxRelayOFF();
						UPSmainRelayON();
//					}
				}else{
					HAL_GPIO_WritePin(LED1_GPIO_Port, LED1_Pin, 0);

					UPSauxRelayON();
					UPSmainRelayOFF();
				}

				/*End of this individual function*/

/*While sending the UART the values validate with the "uartGoFlag" variable and then go for it*/

		if(((HAL_GetTick() - preSentTime) >= 1000)){
			preSentTime=HAL_GetTick();

				if (uartGoFlag & 0XFFFF) {
					HAL_UART_Transmit(&huart3, (uint8_t*) "STM", 4, 10);
					uint8_t transmit[46];
					relayStatus = 0;
					relayStatus |= RmainRelayState << 0;
					relayStatus |= YmainRelayState << 1;
					relayStatus |= BmainRelayState << 2;
					relayStatus |= RYauxRelayState << 3;
					relayStatus |= YRauxRelayState << 4;
					relayStatus |= YBauxRelayState << 5;
					relayStatus |= BYauxRelayState << 6;
					relayStatus |= RBauxRelayState << 7;
					relayStatus |= BRauxRelayState << 8;
					relayStatus |= UPSmainRelayState << 9;
					memcpy(transmit, rxDataV1, 3);
					memcpy((&transmit[3]), &rxDataV2, 3);
					memcpy((&transmit[6]), &rxDataV3, 3);
					memcpy((&transmit[9]), &rxDataC1, 3);
					memcpy((&transmit[12]), &rxDataC2, 3);
					memcpy((&transmit[15]), &rxDataC3, 3);
					memcpy((&transmit[18]), &rxDataP1, 3);
					memcpy((&transmit[21]), &rxDataP2, 3);
					memcpy((&transmit[24]), &rxDataP3, 3);
					memcpy((&transmit[27]), &rxDataE1, 3);
					memcpy((&transmit[30]), &rxDataE2, 3);
					memcpy((&transmit[33]), &rxDataE3, 3);
					memcpy((&transmit[36]), &relayStatus, 2);
					memcpy((&transmit[38]), &bateryVoltage,4);
					memcpy((&transmit[42]), &curTime,4);
					HAL_UART_Transmit(&huart3, (uint8_t*) &transmit, sizeof(transmit),10);
					uartGoFlag = 0;
				}

		}

				/*Acknowledge or Resent commends from STM to ESP via UART*/
		//		if (!(prot[0].highI) || protCheckSumMismatch ){
		//			HAL_UART_Transmit(&huart3,(uint8_t*)&headerProtection,1,10);
		//			protCheckSumMismatch = false;
		//		}
				/*End of this individual function*/

					/*Testing of the Event flags: According to the event to be set and to be reset  */

		if (previousEventFlag != eventFlag) {
			previousEventFlag = eventFlag;

			struct tm time;

			HAL_RTC_GetTime(&hrtc, &rtcTime, RTC_FORMAT_BIN);
			HAL_RTC_GetDate(&hrtc, &rtcDate, RTC_FORMAT_BIN);

			time.tm_hour = rtcTime.Hours;
			time.tm_min = rtcTime.Minutes;
			time.tm_sec = rtcTime.Seconds;
			time.tm_wday = rtcDate.WeekDay;
			time.tm_mon = rtcDate.Month - 1;
			time.tm_mday = rtcDate.Date;
			time.tm_year = rtcDate.Year + 100;

			time.tm_isdst = 0;

			time_t eventTime = mktime(&time);

			//Storing the event details in the Structure for the LOG purpose

			arrEvent[++eventWriteIndex].carryEventTime = eventTime;
			arrEvent[eventWriteIndex].carryEventFlag = eventFlag;

			if (eventWriteIndex >= 20) {
				eventWriteIndex = -1;
			}

		}

		if (eventWriteIndex >= 0) {
			memcpy(&structTemp[0], &headerEventSend, 1);
			memcpy(&structTemp[1], &arrEvent[0], sizeof(arrEvent[0]));
			HAL_UART_Transmit(&huart3, (uint8_t*) &structTemp,
					sizeof(structTemp), 100);

			for (uint8_t i = 0; i < eventWriteIndex; i++) {
				arrEvent[i] = arrEvent[i + 1];
			}
			eventWriteIndex--;

		}

		if (eventFlag & (1U << 12)) {
			printf("Restart happened !\r\n");
			//This is event noting to manage the logs
			eventFlag = (eventFlag & (~(1U << 12)));
		}

		/*End of testing*/

if(RELAYCHECK){

			HAL_GPIO_WritePin(R_main_sig_GPIO_Port, R_main_sig_Pin,1);

			HAL_GPIO_WritePin(Y_main_sig_GPIO_Port, Y_main_sig_Pin,1);

			HAL_GPIO_WritePin(B_main_sig_GPIO_Port, B_main_sig_Pin,1);

			HAL_GPIO_WritePin(R_AUX1_sig_GPIO_Port, R_AUX1_sig_Pin,1);

			HAL_GPIO_WritePin(R_AUX2_sig_GPIO_Port, R_AUX2_sig_Pin,1);

			HAL_GPIO_WritePin(Y_AUX1_sig_GPIO_Port, Y_AUX1_sig_Pin,1);

			HAL_GPIO_WritePin(Y_AUX2_sig_GPIO_Port, Y_AUX2_sig_Pin,1);

			HAL_GPIO_WritePin(B_AUX1_sig_GPIO_Port, B_AUX1_sig_Pin,1);

			HAL_GPIO_WritePin(B_AUX2_sig_GPIO_Port, B_AUX2_sig_Pin,1);

//			HAL_GPIO_WritePin(UPS_main_sig_GPIO_Port, UPS_main_sig_Pin,1);
//
//			HAL_GPIO_WritePin(UPS_AUX_sig_GPIO_Port, UPS_AUX_sig_Pin,1);
//
//			HAL_GPIO_WritePin(EX_tap1_sig_GPIO_Port, EX_tap_1_sig_Pin,1);
//
//			HAL_GPIO_WritePin(EX_tap2_sig_GPIO_Port, EX_tap2_sig_Pin,1);

//		if (!HAL_GPIO_ReadPin(LED1_GPIO_Port, LED1_Pin)) {
//			HAL_GPIO_WritePin(LED1_GPIO_Port, LED1_Pin, 1);
//		}
//		if (HAL_GPIO_ReadPin(LED2_GPIO_Port, LED2_Pin)) {
//			HAL_GPIO_WritePin(LED2_GPIO_Port, LED2_Pin, 0);
//		}
//
//
//		HAL_GPIO_TogglePin(R_main_sig_GPIO_Port, R_main_sig_Pin);
//		HAL_Delay(2000);
//		HAL_GPIO_TogglePin(Y_main_sig_GPIO_Port, Y_main_sig_Pin);
//		HAL_Delay(2000);
//		HAL_GPIO_TogglePin(B_main_sig_GPIO_Port, B_main_sig_Pin);
//		HAL_Delay(2000);
//		HAL_GPIO_TogglePin(R_AUX1_sig_GPIO_Port, R_AUX1_sig_Pin);
//		HAL_Delay(2000);
//		HAL_GPIO_TogglePin(R_AUX2_sig_GPIO_Port, R_AUX2_sig_Pin);
//		HAL_Delay(2000);
//		HAL_GPIO_TogglePin(Y_AUX1_sig_GPIO_Port, Y_AUX1_sig_Pin);
//		HAL_Delay(2000);
//		HAL_GPIO_TogglePin(Y_AUX2_sig_GPIO_Port, Y_AUX2_sig_Pin);
//		HAL_Delay(2000);
//		HAL_GPIO_TogglePin(B_AUX1_sig_GPIO_Port, B_AUX1_sig_Pin);
//		HAL_Delay(2000);
//		HAL_GPIO_TogglePin(B_AUX2_sig_GPIO_Port, B_AUX2_sig_Pin);
//		HAL_Delay(2000);
//		HAL_GPIO_TogglePin(UPS_main_sig_GPIO_Port, UPS_main_sig_Pin);
//		HAL_Delay(2000);
//		HAL_GPIO_TogglePin(UPS_AUX_sig_GPIO_Port, UPS_AUX_sig_Pin);
//		HAL_Delay(2000);
//		HAL_GPIO_TogglePin(EX_tap1_sig_GPIO_Port, EX_tap_1_sig_Pin);
//		HAL_Delay(2000);
//		HAL_GPIO_TogglePin(EX_tap2_sig_GPIO_Port, EX_tap2_sig_Pin);
//		HAL_Delay(2000);
//
//
//
//
//		if (HAL_GPIO_ReadPin(LED1_GPIO_Port, LED1_Pin)) {
//			HAL_GPIO_WritePin(LED1_GPIO_Port, LED1_Pin, 0);
//		}
//		if (!HAL_GPIO_ReadPin(LED2_GPIO_Port, LED2_Pin)) {
//			HAL_GPIO_WritePin(LED2_GPIO_Port, LED2_Pin, 1);
//		}
//		HAL_Delay(2000);
}

    /* USER CODE END WHILE */

  }
}

void SystemClock_Config(void)
{
  RCC_OscInitTypeDef RCC_OscInitStruct = {0};
  RCC_ClkInitTypeDef RCC_ClkInitStruct = {0};

  /** Configure the main internal regulator output voltage
  */
  HAL_PWREx_ControlVoltageScaling(PWR_REGULATOR_VOLTAGE_SCALE1_BOOST);

  /** Configure LSE Drive Capability
  */
  HAL_PWR_EnableBkUpAccess();
  __HAL_RCC_LSEDRIVE_CONFIG(RCC_LSEDRIVE_LOW);

  /** Initializes the RCC Oscillators according to the specified parameters
  * in the RCC_OscInitTypeDef structure.
  */
  RCC_OscInitStruct.OscillatorType = RCC_OSCILLATORTYPE_HSI|RCC_OSCILLATORTYPE_LSE;
  RCC_OscInitStruct.LSEState = RCC_LSE_ON;
  RCC_OscInitStruct.HSIState = RCC_HSI_ON;
  RCC_OscInitStruct.HSICalibrationValue = RCC_HSICALIBRATION_DEFAULT;
  RCC_OscInitStruct.PLL.PLLState = RCC_PLL_ON;
  RCC_OscInitStruct.PLL.PLLSource = RCC_PLLSOURCE_HSI;
  RCC_OscInitStruct.PLL.PLLM = RCC_PLLM_DIV4;
  RCC_OscInitStruct.PLL.PLLN = 85;
  RCC_OscInitStruct.PLL.PLLP = RCC_PLLP_DIV2;
  RCC_OscInitStruct.PLL.PLLQ = RCC_PLLQ_DIV2;
  RCC_OscInitStruct.PLL.PLLR = RCC_PLLR_DIV2;
  if (HAL_RCC_OscConfig(&RCC_OscInitStruct) != HAL_OK)
  {
    Error_Handler();
  }

  /** Initializes the CPU, AHB and APB buses clocks
  */
  RCC_ClkInitStruct.ClockType = RCC_CLOCKTYPE_HCLK|RCC_CLOCKTYPE_SYSCLK
                              |RCC_CLOCKTYPE_PCLK1|RCC_CLOCKTYPE_PCLK2;
  RCC_ClkInitStruct.SYSCLKSource = RCC_SYSCLKSOURCE_PLLCLK;
  RCC_ClkInitStruct.AHBCLKDivider = RCC_SYSCLK_DIV1;
  RCC_ClkInitStruct.APB1CLKDivider = RCC_HCLK_DIV1;
  RCC_ClkInitStruct.APB2CLKDivider = RCC_HCLK_DIV1;

  if (HAL_RCC_ClockConfig(&RCC_ClkInitStruct, FLASH_LATENCY_4) != HAL_OK)
  {
    Error_Handler();
  }
}

static void MX_ADC1_Init(void)
{

  ADC_MultiModeTypeDef multimode = {0};
  ADC_ChannelConfTypeDef sConfig = {0};

  /** Common config
  */
  hadc1.Instance = ADC1;
  hadc1.Init.ClockPrescaler = ADC_CLOCK_SYNC_PCLK_DIV4;
  hadc1.Init.Resolution = ADC_RESOLUTION_12B;
  hadc1.Init.DataAlign = ADC_DATAALIGN_RIGHT;
  hadc1.Init.GainCompensation = 0;
  hadc1.Init.ScanConvMode = ADC_SCAN_DISABLE;
  hadc1.Init.EOCSelection = ADC_EOC_SINGLE_CONV;
  hadc1.Init.LowPowerAutoWait = DISABLE;
  hadc1.Init.ContinuousConvMode = DISABLE;
  hadc1.Init.NbrOfConversion = 1;
  hadc1.Init.DiscontinuousConvMode = DISABLE;
  hadc1.Init.ExternalTrigConv = ADC_SOFTWARE_START;
  hadc1.Init.ExternalTrigConvEdge = ADC_EXTERNALTRIGCONVEDGE_NONE;
  hadc1.Init.DMAContinuousRequests = DISABLE;
  hadc1.Init.Overrun = ADC_OVR_DATA_PRESERVED;
  hadc1.Init.OversamplingMode = DISABLE;
  if (HAL_ADC_Init(&hadc1) != HAL_OK)
  {
    Error_Handler();
  }

  /** Configure the ADC multi-mode
  */
  multimode.Mode = ADC_MODE_INDEPENDENT;
  if (HAL_ADCEx_MultiModeConfigChannel(&hadc1, &multimode) != HAL_OK)
  {
    Error_Handler();
  }

  /** Configure Regular Channel
  */
  sConfig.Channel = ADC_CHANNEL_VBAT;
  sConfig.Rank = ADC_REGULAR_RANK_1;
  sConfig.SamplingTime = ADC_SAMPLETIME_24CYCLES_5;
  sConfig.SingleDiff = ADC_SINGLE_ENDED;
  sConfig.OffsetNumber = ADC_OFFSET_NONE;
  sConfig.Offset = 0;
  if (HAL_ADC_ConfigChannel(&hadc1, &sConfig) != HAL_OK)
  {
    Error_Handler();
  }

}

static void MX_RTC_Init(void)
{

  RTC_TimeTypeDef sTime = {0};
  RTC_DateTypeDef sDate = {0};

  /** Initialize RTC Only
  */
  hrtc.Instance = RTC;
  hrtc.Init.HourFormat = RTC_HOURFORMAT_24;
  hrtc.Init.AsynchPrediv = 127;
  hrtc.Init.SynchPrediv = 255;
  hrtc.Init.OutPut = RTC_OUTPUT_DISABLE;
  hrtc.Init.OutPutRemap = RTC_OUTPUT_REMAP_NONE;
  hrtc.Init.OutPutPolarity = RTC_OUTPUT_POLARITY_HIGH;
  hrtc.Init.OutPutType = RTC_OUTPUT_TYPE_OPENDRAIN;
  hrtc.Init.OutPutPullUp = RTC_OUTPUT_PULLUP_NONE;
  if (HAL_RTC_Init(&hrtc) != HAL_OK)
  {
    Error_Handler();
  }

  /* USER CODE BEGIN Check_RTC_BKUP */
	if (RTC_BAT_CONNECTED)
		return;

  /* USER CODE END Check_RTC_BKUP */

  /** Initialize RTC and set the Time and Date
  */
  sTime.Hours = 0x0;
  sTime.Minutes = 0x0;
  sTime.Seconds = 0x0;
  sTime.SubSeconds = 0x0;
  sTime.DayLightSaving = RTC_DAYLIGHTSAVING_NONE;
  sTime.StoreOperation = RTC_STOREOPERATION_RESET;
  if (HAL_RTC_SetTime(&hrtc, &sTime, RTC_FORMAT_BCD) != HAL_OK)
  {
    Error_Handler();
  }
  sDate.WeekDay = RTC_WEEKDAY_MONDAY;
  sDate.Month = RTC_MONTH_JANUARY;
  sDate.Date = 0x1;
  sDate.Year = 0x0;

  if (HAL_RTC_SetDate(&hrtc, &sDate, RTC_FORMAT_BCD) != HAL_OK)
  {
    Error_Handler();
  }

}

static void MX_SPI1_Init(void)
{

  /* SPI1 parameter configuration*/
  hspi1.Instance = SPI1;
  hspi1.Init.Mode = SPI_MODE_MASTER;
  hspi1.Init.Direction = SPI_DIRECTION_2LINES;
  hspi1.Init.DataSize = SPI_DATASIZE_8BIT;
  hspi1.Init.CLKPolarity = SPI_POLARITY_LOW;
  hspi1.Init.CLKPhase = SPI_PHASE_2EDGE;
  hspi1.Init.NSS = SPI_NSS_SOFT;
  hspi1.Init.BaudRatePrescaler = SPI_BAUDRATEPRESCALER_256;
  hspi1.Init.FirstBit = SPI_FIRSTBIT_MSB;
  hspi1.Init.TIMode = SPI_TIMODE_DISABLE;
  hspi1.Init.CRCCalculation = SPI_CRCCALCULATION_DISABLE;
  hspi1.Init.CRCPolynomial = 7;
  hspi1.Init.CRCLength = SPI_CRC_LENGTH_DATASIZE;
  hspi1.Init.NSSPMode = SPI_NSS_PULSE_DISABLE;
  if (HAL_SPI_Init(&hspi1) != HAL_OK)
  {
    Error_Handler();
  }

}

static void MX_USART3_UART_Init(void)
{

  huart3.Instance = USART3;
  huart3.Init.BaudRate = 115200;
  huart3.Init.WordLength = UART_WORDLENGTH_8B;
  huart3.Init.StopBits = UART_STOPBITS_1;
  huart3.Init.Parity = UART_PARITY_NONE;
  huart3.Init.Mode = UART_MODE_TX_RX;
  huart3.Init.HwFlowCtl = UART_HWCONTROL_NONE;
  huart3.Init.OverSampling = UART_OVERSAMPLING_16;
  huart3.Init.OneBitSampling = UART_ONE_BIT_SAMPLE_DISABLE;
  huart3.Init.ClockPrescaler = UART_PRESCALER_DIV1;
  huart3.AdvancedInit.AdvFeatureInit = UART_ADVFEATURE_NO_INIT;
  if (HAL_UART_Init(&huart3) != HAL_OK)
  {
    Error_Handler();
  }
  if (HAL_UARTEx_SetTxFifoThreshold(&huart3, UART_TXFIFO_THRESHOLD_1_8) != HAL_OK)
  {
    Error_Handler();
  }
  if (HAL_UARTEx_SetRxFifoThreshold(&huart3, UART_RXFIFO_THRESHOLD_1_8) != HAL_OK)
  {
    Error_Handler();
  }
  if (HAL_UARTEx_DisableFifoMode(&huart3) != HAL_OK)
  {
    Error_Handler();
  }

}

static void MX_DMA_Init(void)
{

  /* DMA controller clock enable */
  __HAL_RCC_DMAMUX1_CLK_ENABLE();
  __HAL_RCC_DMA1_CLK_ENABLE();

  /* DMA interrupt init */
  /* DMA1_Channel1_IRQn interrupt configuration */
  HAL_NVIC_SetPriority(DMA1_Channel1_IRQn, 0, 0);
  HAL_NVIC_EnableIRQ(DMA1_Channel1_IRQn);

}

static void MX_GPIO_Init(void)
{
  GPIO_InitTypeDef GPIO_InitStruct = {0};

  /* GPIO Ports Clock Enable */
  __HAL_RCC_GPIOC_CLK_ENABLE();
  __HAL_RCC_GPIOF_CLK_ENABLE();
  __HAL_RCC_GPIOG_CLK_ENABLE();
  __HAL_RCC_GPIOA_CLK_ENABLE();
  __HAL_RCC_GPIOB_CLK_ENABLE();
  __HAL_RCC_GPIOD_CLK_ENABLE();

  /*Configure GPIO pin Output Level */
  HAL_GPIO_WritePin(EX_tap1_sig_GPIO_Port, EX_tap1_sig_Pin, GPIO_PIN_RESET);

  /*Configure GPIO pin Output Level */
  HAL_GPIO_WritePin(EX_tap2_sig_GPIO_Port, EX_tap2_sig_Pin, GPIO_PIN_RESET);

  /*Configure GPIO pin Output Level */
  HAL_GPIO_WritePin(GPIOC, R_sel_Pin|B_sel_Pin|Y_sel_Pin|UPS_main_sig_Pin
                          |R_main_sig_Pin|R_AUX1_sig_Pin, GPIO_PIN_RESET);

  /*Configure GPIO pin Output Level */
  HAL_GPIO_WritePin(GPIOB, UPS_sel_Pin|Y_main_sig_Pin|Y_AUX1_sig_Pin|Y_AUX2_sig_Pin
                          |B_main_sig_Pin|B_AUX1_sig_Pin|B_AUX2_sig_Pin, GPIO_PIN_RESET);

  /*Configure GPIO pin Output Level */
  HAL_GPIO_WritePin(GPIOA, LED2_Pin|LED1_Pin|UPS_AUX_sig_Pin, GPIO_PIN_RESET);

  /*Configure GPIO pin Output Level */
  HAL_GPIO_WritePin(R_AUX2_sig_GPIO_Port, R_AUX2_sig_Pin, GPIO_PIN_RESET);

  /*Configure GPIO pin : SW2_Pin */
  GPIO_InitStruct.Pin = SW2_Pin;
  GPIO_InitStruct.Mode = GPIO_MODE_INPUT;
  GPIO_InitStruct.Pull = GPIO_PULLDOWN;
  HAL_GPIO_Init(SW2_GPIO_Port, &GPIO_InitStruct);

  /*Configure GPIO pin : EX_tap1_sig_Pin */
  GPIO_InitStruct.Pin = EX_tap1_sig_Pin;
  GPIO_InitStruct.Mode = GPIO_MODE_OUTPUT_PP;
  GPIO_InitStruct.Pull = GPIO_NOPULL;
  GPIO_InitStruct.Speed = GPIO_SPEED_FREQ_LOW;
  HAL_GPIO_Init(EX_tap1_sig_GPIO_Port, &GPIO_InitStruct);

  /*Configure GPIO pin : EX_tap2_sig_Pin */
  GPIO_InitStruct.Pin = EX_tap2_sig_Pin;
  GPIO_InitStruct.Mode = GPIO_MODE_OUTPUT_PP;
  GPIO_InitStruct.Pull = GPIO_NOPULL;
  GPIO_InitStruct.Speed = GPIO_SPEED_FREQ_LOW;
  HAL_GPIO_Init(EX_tap2_sig_GPIO_Port, &GPIO_InitStruct);

  /*Configure GPIO pins : Digital_in_Pin R_ZX_Pin */
  GPIO_InitStruct.Pin = Digital_in_Pin|R_ZX_Pin;
  GPIO_InitStruct.Mode = GPIO_MODE_INPUT;
  GPIO_InitStruct.Pull = GPIO_PULLUP;
  HAL_GPIO_Init(GPIOC, &GPIO_InitStruct);

  /*Configure GPIO pins : R_LEAK_Pin Y_LEAK_Pin B_LEAK_Pin */
  GPIO_InitStruct.Pin = R_LEAK_Pin|Y_LEAK_Pin|B_LEAK_Pin;
  GPIO_InitStruct.Mode = GPIO_MODE_INPUT;
  GPIO_InitStruct.Pull = GPIO_PULLUP;
  HAL_GPIO_Init(GPIOA, &GPIO_InitStruct);

  /*Configure GPIO pins : Y_ZX_Pin B_ZX_Pin */
  GPIO_InitStruct.Pin = Y_ZX_Pin|B_ZX_Pin;
  GPIO_InitStruct.Mode = GPIO_MODE_INPUT;
  GPIO_InitStruct.Pull = GPIO_NOPULL;
  HAL_GPIO_Init(GPIOA, &GPIO_InitStruct);

  /*Configure GPIO pins : R_sel_Pin B_sel_Pin Y_sel_Pin UPS_main_sig_Pin
                           R_main_sig_Pin R_AUX1_sig_Pin */
  GPIO_InitStruct.Pin = R_sel_Pin|B_sel_Pin|Y_sel_Pin|UPS_main_sig_Pin
                          |R_main_sig_Pin|R_AUX1_sig_Pin;
  GPIO_InitStruct.Mode = GPIO_MODE_OUTPUT_PP;
  GPIO_InitStruct.Pull = GPIO_NOPULL;
  GPIO_InitStruct.Speed = GPIO_SPEED_FREQ_LOW;
  HAL_GPIO_Init(GPIOC, &GPIO_InitStruct);

  /*Configure GPIO pins : UPS_sel_Pin Y_main_sig_Pin Y_AUX1_sig_Pin Y_AUX2_sig_Pin
                           B_main_sig_Pin B_AUX1_sig_Pin B_AUX2_sig_Pin */
  GPIO_InitStruct.Pin = UPS_sel_Pin|Y_main_sig_Pin|Y_AUX1_sig_Pin|Y_AUX2_sig_Pin
                          |B_main_sig_Pin|B_AUX1_sig_Pin|B_AUX2_sig_Pin;
  GPIO_InitStruct.Mode = GPIO_MODE_OUTPUT_PP;
  GPIO_InitStruct.Pull = GPIO_NOPULL;
  GPIO_InitStruct.Speed = GPIO_SPEED_FREQ_LOW;
  HAL_GPIO_Init(GPIOB, &GPIO_InitStruct);

  /*Configure GPIO pins : USP_LEAK_Pin UPS_ZX_Pin */
  GPIO_InitStruct.Pin = USP_LEAK_Pin|UPS_ZX_Pin;
  GPIO_InitStruct.Mode = GPIO_MODE_INPUT;
  GPIO_InitStruct.Pull = GPIO_PULLUP;
  HAL_GPIO_Init(GPIOB, &GPIO_InitStruct);

  /*Configure GPIO pins : CF1_Pin CF2_Pin CF3_Pin CF4_Pin */
  GPIO_InitStruct.Pin = CF1_Pin|CF2_Pin|CF3_Pin|CF4_Pin;
  GPIO_InitStruct.Mode = GPIO_MODE_IT_RISING_FALLING;
  GPIO_InitStruct.Pull = GPIO_PULLUP;
  HAL_GPIO_Init(GPIOB, &GPIO_InitStruct);

  /*Configure GPIO pins : CF5_Pin CF6_Pin CF7_Pin */
  GPIO_InitStruct.Pin = CF5_Pin|CF6_Pin|CF7_Pin;
  GPIO_InitStruct.Mode = GPIO_MODE_IT_RISING_FALLING;
  GPIO_InitStruct.Pull = GPIO_PULLUP;
  HAL_GPIO_Init(GPIOC, &GPIO_InitStruct);

  /*Configure GPIO pin : SW1_Pin */
  GPIO_InitStruct.Pin = SW1_Pin;
  GPIO_InitStruct.Mode = GPIO_MODE_INPUT;
  GPIO_InitStruct.Pull = GPIO_PULLDOWN;
  HAL_GPIO_Init(SW1_GPIO_Port, &GPIO_InitStruct);

  /*Configure GPIO pins : LED2_Pin LED1_Pin */
  GPIO_InitStruct.Pin = LED2_Pin|LED1_Pin;
  GPIO_InitStruct.Mode = GPIO_MODE_OUTPUT_PP;
  GPIO_InitStruct.Pull = GPIO_NOPULL;
  GPIO_InitStruct.Speed = GPIO_SPEED_FREQ_VERY_HIGH;
  HAL_GPIO_Init(GPIOA, &GPIO_InitStruct);

  /*Configure GPIO pin : UPS_AUX_sig_Pin */
  GPIO_InitStruct.Pin = UPS_AUX_sig_Pin;
  GPIO_InitStruct.Mode = GPIO_MODE_OUTPUT_PP;
  GPIO_InitStruct.Pull = GPIO_NOPULL;
  GPIO_InitStruct.Speed = GPIO_SPEED_FREQ_LOW;
  HAL_GPIO_Init(UPS_AUX_sig_GPIO_Port, &GPIO_InitStruct);

  /*Configure GPIO pin : R_AUX2_sig_Pin */
  GPIO_InitStruct.Pin = R_AUX2_sig_Pin;
  GPIO_InitStruct.Mode = GPIO_MODE_OUTPUT_PP;
  GPIO_InitStruct.Pull = GPIO_NOPULL;
  GPIO_InitStruct.Speed = GPIO_SPEED_FREQ_LOW;
  HAL_GPIO_Init(R_AUX2_sig_GPIO_Port, &GPIO_InitStruct);

  /* EXTI interrupt init*/
  HAL_NVIC_SetPriority(EXTI9_5_IRQn, 0, 0);
  HAL_NVIC_EnableIRQ(EXTI9_5_IRQn);

  HAL_NVIC_SetPriority(EXTI15_10_IRQn, 0, 0);
  HAL_NVIC_EnableIRQ(EXTI15_10_IRQn);

}

void Error_Handler(void)
{
  __disable_irq();
  while (1)
  {
  }
}
